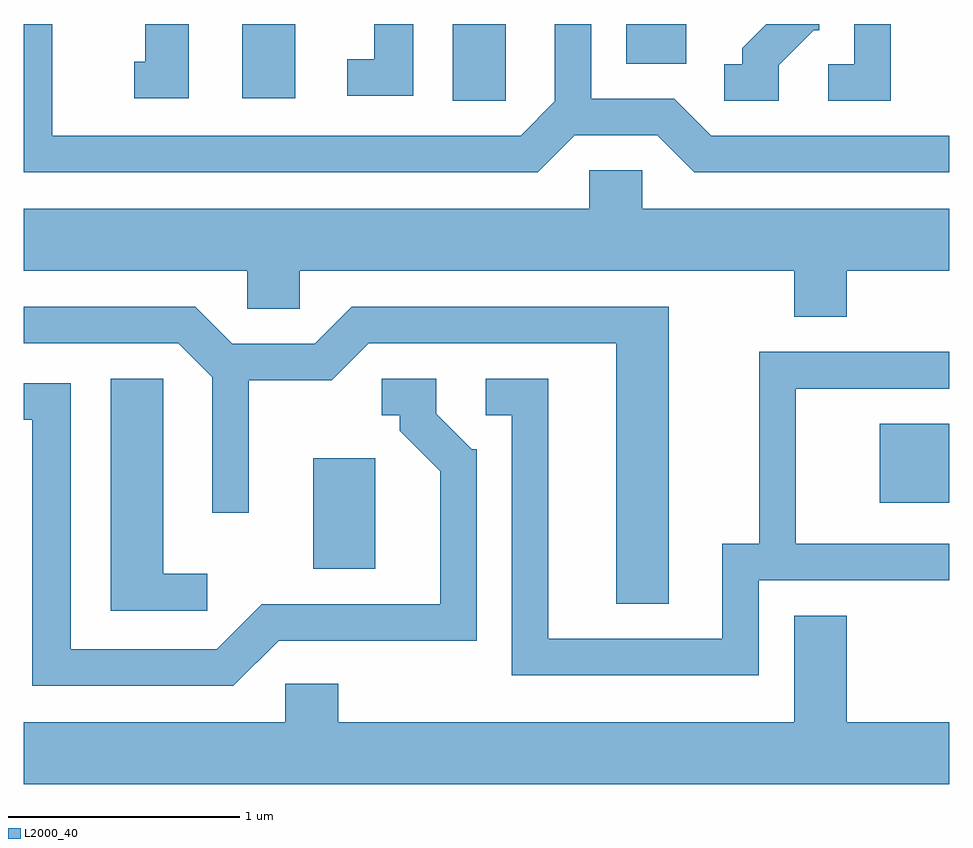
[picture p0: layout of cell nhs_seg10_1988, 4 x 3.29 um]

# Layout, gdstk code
import gdstk
lib = gdstk.Library(unit=1e-6, precision=1e-09)
def R(c, l, rs):  # rectangles x0, y0, x1, y1
    for r in rs: c.add(gdstk.rectangle(r[:2], r[2:], *l))
def P(c, l, *ps):  # polygons
    for p in ps: c.add(gdstk.Polygon(p, *l))
L2000_40 = (2000, 40)

nhs_seg10_1988 = lib.new_cell('nhs_seg10_1988')
R(nhs_seg10_1988, L2000_40, [(244.861,2128.166,245.129,2128.644), (247.311,2128.451,247.611,2128.794), (245.466,2130.191,245.694,2130.522), (244.556,2130.201,244.784,2130.522), (246.216,2130.351,246.474,2130.522)])
P(nhs_seg10_1988, L2000_40, [(246.874,2130.344),(247.027,2130.496),(247.049,2130.496),(247.049,2130.522),(246.821,2130.522),(246.716,2130.417),(246.716,2130.349),(246.638,2130.349),(246.638,2130.191),(246.874,2130.191)],
  [(247.359,2130.522),(247.201,2130.522),(247.201,2130.349),(247.088,2130.349),(247.088,2130.191),(247.359,2130.191)],
  [(245.992,2130.041),(246.349,2130.041),(246.509,2129.881),(247.611,2129.881),(247.611,2130.039),(246.582,2130.039),(246.422,2130.199),(246.064,2130.199),(246.064,2130.522),(245.906,2130.522),(245.906,2130.187),(245.759,2130.039),(243.734,2130.039),(243.734,2130.522),(243.611,2130.522),(243.611,2129.881),(245.832,2129.881)],
  [(244.324,2130.522),(244.136,2130.522),(244.136,2130.359),(244.088,2130.359),(244.088,2130.201),(244.324,2130.201)],
  [(245.294,2130.522),(245.126,2130.522),(245.126,2130.369),(245.008,2130.369),(245.008,2130.211),(245.294,2130.211)],
  [(246.284,2129.889),(246.056,2129.889),(246.056,2129.724),(243.611,2129.724),(243.611,2129.456),(244.576,2129.456),(244.576,2129.291),(244.804,2129.291),(244.804,2129.456),(246.941,2129.456),(246.941,2129.256),(247.169,2129.256),(247.169,2129.456),(247.611,2129.456),(247.611,2129.724),(246.284,2129.724)],
  [(246.399,2129.299),(245.029,2129.299),(244.869,2129.139),(244.512,2129.139),(244.352,2129.299),(243.611,2129.299),(243.611,2129.141),(244.279,2129.141),(244.426,2128.994),(244.426,2128.408),(244.584,2128.408),(244.584,2128.981),(244.942,2128.981),(245.102,2129.141),(246.171,2129.141),(246.171,2128.016),(246.399,2128.016)],
  [(246.789,2128.116),(247.611,2128.116),(247.611,2128.274),(246.949,2128.274),(246.949,2128.946),(247.611,2128.946),(247.611,2129.104),(246.791,2129.104),(246.791,2128.274),(246.631,2128.274),(246.631,2127.864),(245.879,2127.864),(245.879,2128.989),(245.608,2128.989),(245.608,2128.831),(245.721,2128.831),(245.721,2127.706),(246.789,2127.706)],
  [(244.712,2127.856),(245.569,2127.856),(245.569,2128.684),(245.547,2128.684),(245.394,2128.837),(245.394,2128.989),(245.158,2128.989),(245.158,2128.831),(245.236,2128.831),(245.236,2128.764),(245.411,2128.589),(245.411,2128.014),(244.639,2128.014),(244.444,2127.819),(243.814,2127.819),(243.814,2128.969),(243.611,2128.969),(243.611,2128.811),(243.646,2128.811),(243.646,2127.661),(244.517,2127.661)],
  [(244.403,2128.144),(244.214,2128.144),(244.214,2128.989),(243.986,2128.989),(243.986,2127.986),(244.403,2127.986)],
  [(247.611,2127.504),(247.169,2127.504),(247.169,2127.964),(246.941,2127.964),(246.941,2127.504),(244.969,2127.504),(244.969,2127.669),(244.741,2127.669),(244.741,2127.504),(243.611,2127.504),(243.611,2127.236),(247.611,2127.236)])

lib.write_gds('nhs_seg10_1988.gds')
